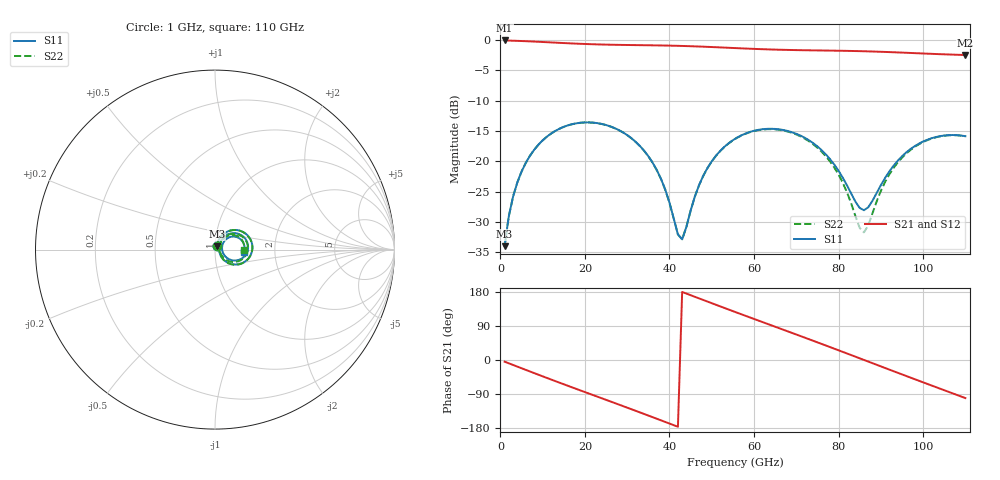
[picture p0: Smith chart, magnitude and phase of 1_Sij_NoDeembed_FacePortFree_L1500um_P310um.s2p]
! Touchstone file exported from HFSS 2024.2.0
!  File:  C:/Users/vaintrug/Documents/Ansoft_Workspace/Comparaison_Calculs_HFSS/1_VarPort.aedt
!  Generated:  03:22:17 PM Jan 21, 2025
!  Design:  1_NoDeembed_FacePortFree
!  Project:  1_VarPort
!  Setup:  Setup1
!  Solution:  Sweep
! Variables:
!  $Lenght = 1500um
!  $PortSize = 310um
!  Gap = 30um
!  Th = 2um
!  X_centralStrip = 20um
!  X_masse = 200um
!  Y_Sub = 1.5mm
!  Z_Box = 400um
!  Z_Sub = 200um
# GHz S MA R 50.000000
! Terminal data exported
! Port[1] = 1
! Port[2] = 2
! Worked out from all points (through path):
!   110 points, 1 GHz to 110 GHz, reference 50 ohm
!   highest |S21| = -0.10 dB at 1 GHz (marker M1); lowest = -2.5 dB at 110 GHz (marker M2)
!   group delay of S21, straight-line fit = 11.6 ps
!   lowest |S11| = -34.0 dB at 1 GHz (marker M3), VSWR 1.04, Z = 50.9 + j1.79 ohm
!   |S11| at or under -10 dB: start of sweep to end of sweep
!   |S22| runs from -34.0 to -13.6 dB; largest |S21 - S12| = 2.7e-15
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1  0.01999 61.6  0.989 -4.4  0.989 -4.4  0.01999 61.6
! Gamma 6.21177563748304 50.2575573652979 6.21165987939136 50.0629694166343
! Port Impedance 50 0 50 0
2  0.03539 69.0  0.9865 -8.7  0.9865 -8.7  0.03539 68.9
3  0.05117 69.6  0.9841 -13.1  0.9841 -13.1  0.05116 69.5
7  0.1111 58.5  0.9719 -30.3  0.9719 -30.3  0.1111 58.4
14  0.1857 31.6  0.9451 -59.9  0.9451 -59.9  0.1856 31.3
20  0.209 8.4  0.9252 -84.7  0.9252 -84.7  0.2088 7.9
25  0.1989 -10.4  0.9142 -105.2  0.9142 -105.2  0.1987 -11.0
31  0.1549 -31.8  0.9066 -129.9  0.9066 -129.9  0.1547 -32.5
38  0.0716 -49.4  0.8994 -159.3  0.8994 -159.3  0.07144 -50.3
42  0.02494 -19.3  0.8932 -176.2  0.8932 -176.2  0.02497 -20.2
43  0.02275 11.6  0.8912 179.5  0.8912 179.5  0.02282 10.6
48  0.07609 55.7  0.8789 158.3  0.8789 158.3  0.07595 54.2
52  0.1218 46.8  0.8669 141.5  0.8669 141.5  0.1214 45.2
56  0.1569 34.2  0.8545 124.8  0.8545 124.8  0.1562 32.3
65  0.1847 3.7  0.8315 87.8  0.8315 87.8  0.1832 0.9
74  0.1411 -24.5  0.8196 50.7  0.8196 50.7  0.1381 -29.3
80  0.08347 -34.8  0.814 25.6  0.814 25.6  0.07769 -43.4
86  0.03953 5.4  0.8058 0.2  0.8058 0.2  0.02597 7.4
92  0.08244 43.1  0.7932 -25.3  0.7932 -25.3  0.07789 51.9
96  0.1183 37.6  0.783 -42.2  0.783 -42.2  0.1158 43.4
101  0.1505 24.1  0.7698 -63.1  0.7698 -63.1  0.1493 28.3
110  0.1609 -4.1  0.7504 -100.5  0.7504 -100.5  0.1609 -1.2
